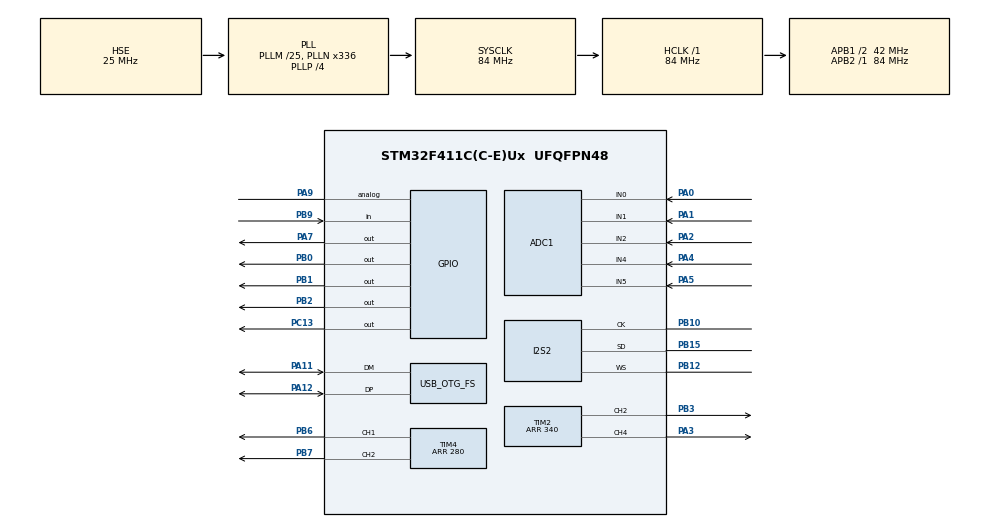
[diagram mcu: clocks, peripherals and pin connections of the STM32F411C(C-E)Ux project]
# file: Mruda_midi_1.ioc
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ADC1.Channel-0\#ChannelRegularConversion=ADC_CHANNEL_0
ADC1.Channel-1\#ChannelRegularConversion=ADC_CHANNEL_1
ADC1.Channel-2\#ChannelRegularConversion=ADC_CHANNEL_2
ADC1.Channel-3\#ChannelRegularConversion=ADC_CHANNEL_5
ADC1.ContinuousConvMode=ENABLE
ADC1.DMAContinuousRequests=ENABLE
ADC1.InjNumberOfConversion=0
ADC1.NbrOfConversion=4
ADC1.NbrOfConversionFlag=1
ADC1.Rank-0\#ChannelRegularConversion=1
ADC1.Rank-1\#ChannelRegularConversion=2
ADC1.Rank-2\#ChannelRegularConversion=3
ADC1.Rank-3\#ChannelRegularConversion=4
ADC1.SamplingTime-0\#ChannelRegularConversion=ADC_SAMPLETIME_15CYCLES
ADC1.SamplingTime-1\#ChannelRegularConversion=ADC_SAMPLETIME_15CYCLES
ADC1.SamplingTime-2\#ChannelRegularConversion=ADC_SAMPLETIME_15CYCLES
ADC1.SamplingTime-3\#ChannelRegularConversion=ADC_SAMPLETIME_15CYCLES
ADC1.master=1
Dma.ADC1.1.Direction=DMA_PERIPH_TO_MEMORY
Dma.ADC1.1.FIFOMode=DMA_FIFOMODE_DISABLE
Dma.ADC1.1.Instance=DMA2_Stream0
Dma.ADC1.1.MemDataAlignment=DMA_MDATAALIGN_HALFWORD
Dma.ADC1.1.MemInc=DMA_MINC_ENABLE
Dma.ADC1.1.Mode=DMA_CIRCULAR
Dma.ADC1.1.PeriphDataAlignment=DMA_PDATAALIGN_HALFWORD
Dma.ADC1.1.PeriphInc=DMA_PINC_DISABLE
Dma.ADC1.1.Priority=DMA_PRIORITY_LOW
Dma.Request0=SPI2_TX
Dma.Request1=ADC1
Dma.SPI2_TX.0.Direction=DMA_MEMORY_TO_PERIPH
Dma.SPI2_TX.0.FIFOMode=DMA_FIFOMODE_DISABLE
Dma.SPI2_TX.0.Instance=DMA1_Stream4
Dma.SPI2_TX.0.MemDataAlignment=DMA_MDATAALIGN_HALFWORD
Dma.SPI2_TX.0.MemInc=DMA_MINC_ENABLE
Dma.SPI2_TX.0.Mode=DMA_CIRCULAR
Dma.SPI2_TX.0.PeriphDataAlignment=DMA_PDATAALIGN_HALFWORD
Dma.SPI2_TX.0.PeriphInc=DMA_PINC_DISABLE
Dma.SPI2_TX.0.Priority=DMA_PRIORITY_VERY_HIGH
I2S2.AudioFreq=I2S_AUDIOFREQ_16K
I2S2.DataFormat=I2S_DATAFORMAT_16B
I2S2.ErrorAudioFreq=-0.03 %
I2S2.FullDuplexMode=I2S_FULLDUPLEXMODE_DISABLE
I2S2.Instance=SPI$Index
I2S2.RealAudioFreq=15.995 KHz
I2S2.Standard=I2S_STANDARD_PHILIPS
I2S2.VirtualMode=I2S_MODE_MASTER
Mcu.Family=STM32F4
Mcu.Name=STM32F411C(C-E)Ux
Mcu.Package=UFQFPN48
NVIC.DMA1_Stream4_IRQn=true\:0\:0\:false\:false\:true\:false\:true\:true
NVIC.DMA2_Stream0_IRQn=true\:0\:0\:false\:false\:true\:false\:true\:true
NVIC.OTG_FS_IRQn=true\:0\:0\:false\:false\:true\:false\:true\:true
NVIC.PriorityGroup=NVIC_PRIORITYGROUP_4
PA0-WKUP.Signal=ADCx_IN0
PA1.Signal=ADCx_IN1
PA11.Mode=Device_Only
PA11.Signal=USB_OTG_FS_DM
PA12.Mode=Device_Only
PA12.Signal=USB_OTG_FS_DP
PA2.Signal=ADCx_IN2
PA3.Signal=S_TIM2_CH4
PA4.Signal=ADCx_IN4
PA5.Signal=ADCx_IN5
PA7.Signal=GPIO_Output
PA9.Signal=GPIO_Analog
PB0.Signal=GPIO_Output
PB1.Signal=GPIO_Output
PB10.Mode=Half_Duplex_Master
PB10.Signal=I2S2_CK
PB12.Mode=Half_Duplex_Master
PB12.Signal=I2S2_WS
PB15.Mode=Half_Duplex_Master
PB15.Signal=I2S2_SD
PB2.Signal=GPIO_Output
PB3.Signal=S_TIM2_CH2
PB6.Signal=S_TIM4_CH1
PB7.Signal=S_TIM4_CH2
PB9.GPIO_PuPd=GPIO_PULLUP
PB9.Signal=GPIO_Input
PC13-ANTI_TAMP.Signal=GPIO_Output
PH0\ -\ OSC_IN.Mode=HSE-External-Oscillator
PH0\ -\ OSC_IN.Signal=RCC_OSC_IN
PH1\ -\ OSC_OUT.Mode=HSE-External-Oscillator
PH1\ -\ OSC_OUT.Signal=RCC_OSC_OUT
ProjectManager.HeapSize=0x200
ProjectManager.StackSize=0x400
ProjectManager.TargetToolchain=STM32CubeIDE
RCC.48MHZClocksFreq_Value=48000000
RCC.AHBFreq_Value=84000000
RCC.APB1CLKDivider=RCC_HCLK_DIV2
RCC.APB1Freq_Value=42000000
RCC.APB1TimFreq_Value=84000000
RCC.APB2Freq_Value=84000000
RCC.APB2TimFreq_Value=84000000
RCC.CortexFreq_Value=84000000
RCC.HCLKFreq_Value=84000000
RCC.HSE_VALUE=25000000
RCC.HSI_VALUE=16000000
RCC.LSE_VALUE=32768
RCC.PLLI2SM=20
RCC.PLLI2SN=190
RCC.PLLM=25
RCC.PLLN=336
RCC.PLLP=RCC_PLLP_DIV4
RCC.PLLQ=7
RCC.SYSCLKFreq_VALUE=84000000
RCC.SYSCLKSource=RCC_SYSCLKSOURCE_PLLCLK
RCC.VCOOutputFreq_Value=336000000
SH.ADCx_IN0.0=ADC1_IN0,IN0
SH.ADCx_IN1.0=ADC1_IN1,IN1
SH.ADCx_IN2.0=ADC1_IN2,IN2
SH.ADCx_IN4.0=ADC1_IN4,IN4
SH.ADCx_IN5.0=ADC1_IN5,IN5
SH.S_TIM2_CH2.0=TIM2_CH2,PWM Generation2 CH2
SH.S_TIM2_CH4.0=TIM2_CH4,PWM Generation4 CH4
SH.S_TIM4_CH1.0=TIM4_CH1,Output Compare1 CH1
SH.S_TIM4_CH2.0=TIM4_CH2,Output Compare2 CH2
TIM2.Channel-PWM\ Generation2\ CH2=TIM_CHANNEL_2
TIM2.Channel-PWM\ Generation4\ CH4=TIM_CHANNEL_4
TIM2.Period=340
TIM2.Pulse-PWM\ Generation4\ CH4=170
TIM3.AutoReloadPreload=TIM_AUTORELOAD_PRELOAD_ENABLE
TIM3.Prescaler=83
TIM4.AutoReloadPreload=TIM_AUTORELOAD_PRELOAD_ENABLE
TIM4.Channel-Output\ Compare1\ CH1=TIM_CHANNEL_1
TIM4.Channel-Output\ Compare2\ CH2=TIM_CHANNEL_2
TIM4.OCMode_1=TIM_OCMODE_TOGGLE
TIM4.OCMode_2=TIM_OCMODE_TOGGLE
TIM4.OCPolarity_1=TIM_OCPOLARITY_LOW
TIM4.Period=280
TIM4.Pulse-Output\ Compare2\ CH2=15
USB_DEVICE.CLASS_NAME_FS=HID
USB_DEVICE.VirtualMode=Hid
USB_DEVICE.VirtualModeFS=Hid_FS
USB_OTG_FS.VirtualMode=Device_Only
VP_TIM2_VS_ClockSourceINT.Mode=Internal
VP_TIM3_VS_ClockSourceINT.Mode=Internal
VP_USB_DEVICE_VS_USB_DEVICE_HID_FS.Mode=HID_FS
board=custom

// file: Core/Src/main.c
/* USER CODE BEGIN Header */
/* USER CODE END Header */
#include "main.h"
#include "usb_device.h"

/* USER CODE BEGIN Includes */

#include "usbd_hid.h"
#include "function/general_func.h"
#include "function/measure.h"
#include "tm1637.h"
#include "function/synth.h"
#include "function/func_sel.h"
#include "function/f_set.h"
#include "function/debugs.h"
#include "function/midi.h"
#include "function/usb.h"

uint16_t adc_dma_buffer[ADC_DMA_LEN];
float adc_val[ADC_DMA_LEN];
long main_time, main_time_COUNTER;

operation_mode mode;

/* USER CODE END Includes */

/* USER CODE BEGIN PTD */

extern USBD_HandleTypeDef hUsbDeviceFS;

/* USER CODE END PTD */

ADC_HandleTypeDef hadc1;
DMA_HandleTypeDef hdma_adc1;

I2S_HandleTypeDef hi2s2;
DMA_HandleTypeDef hdma_spi2_tx;

TIM_HandleTypeDef htim2;
TIM_HandleTypeDef htim3;
TIM_HandleTypeDef htim4;

void SystemClock_Config(void);
static void MX_GPIO_Init(void);
static void MX_DMA_Init(void);
static void MX_ADC1_Init(void);
static void MX_I2S2_Init(void);
static void MX_TIM2_Init(void);
static void MX_TIM3_Init(void);
static void MX_TIM4_Init(void);

/* USER CODE BEGIN 0 */

void HAL_ADC_ConvCpltCallback(ADC_HandleTypeDef* hadc){
	for(int i=0;i<ADC_DMA_LEN;i++){
	adc_val[i]=(float)adc_dma_buffer[i];
	}
}

void HAL_I2S_TxHalfCpltCallback(I2S_HandleTypeDef *hi2s) {
    fill_buffer(Buffer, BUFFER_SIZE / 2);  // Fill first half
}

void HAL_I2S_TxCpltCallback(I2S_HandleTypeDef *hi2s) {
    fill_buffer(Buffer + BUFFER_SIZE/2, BUFFER_SIZE / 2);  // Fill second half
}

/* USER CODE END 0 */

int main(void)
{

  /* USER CODE BEGIN 1 */
	SCB->VTOR = 0x08010000;
	__enable_irq();

  /* USER CODE END 1 */

  /* MCU Configuration--------------------------------------------------------*/

  /* Reset of all peripherals, Initializes the Flash interface and the Systick. */
  HAL_Init();

  /* USER CODE BEGIN Init */

  	set_defaults();
  	update_all_presets();
	Creat_sine_table(sine_data,0);
	Creat_sine_table(sine_data_tanpura,5);

  /* USER CODE END Init */

  /* Configure the system clock */
  SystemClock_Config();

  /* Initialize all configured peripherals */
  MX_GPIO_Init();
  MX_DMA_Init();
  MX_ADC1_Init();
  MX_I2S2_Init();
  MX_TIM2_Init();
  MX_TIM3_Init();
  MX_TIM4_Init();
  MX_USB_DEVICE_Init();
  /* USER CODE BEGIN 2 */

  //these is to set the timer to set tjhe dac and excitation signal

  HAL_TIM_PWM_Start(&htim4, TIM_CHANNEL_2);
  HAL_TIM_PWM_Start(&htim4, TIM_CHANNEL_1);
  __HAL_TIM_SET_COMPARE(&htim4, TIM_CHANNEL_1, 0);

  HAL_TIM_Base_Start(&htim3);
  HAL_TIM_PWM_Start(&htim2, TIM_CHANNEL_4);

  __HAL_TIM_SET_COMPARE(&htim4, TIM_CHANNEL_2, 15); // phase shift for reference

  TM1637_Init();
  HAL_Delay(50);
  HAL_ADC_Start_DMA(&hadc1, (uint32_t*)adc_dma_buffer, ADC_DMA_LEN);
  HAL_Delay(50);
  key_cal();

  HAL_I2S_Transmit_DMA(&hi2s2, (uint16_t*)Buffer, BUFFER_SIZE);
  DWT_Delay_Init();

  mode = Onboard;
  if (HAL_GPIO_ReadPin(GPIOB, GPIO_PIN_9) == 0) {
	  mode = Edit;
	  enter_edit_mode();
  }

  /* USER CODE END 2 */

  /* Infinite loop */
  /* USER CODE BEGIN WHILE */
  static uint32_t last_count;
  while(1)
  {
	  uint32_t now = __HAL_TIM_GET_COUNTER(&htim3);
	  if ((now - last_count) >= 250) // loop of 250ms to run continously
	  {
	        last_count = now;
	        get_touch_position();
	        pos_measure_f_cal();
	        Tanpura();
	        function_process();
	  }
    /* USER CODE END WHILE */

  }
}

void SystemClock_Config(void)
{
  RCC_OscInitTypeDef RCC_OscInitStruct = {0};
  RCC_ClkInitTypeDef RCC_ClkInitStruct = {0};

  /** Configure the main internal regulator output voltage
  */
  __HAL_RCC_PWR_CLK_ENABLE();
  __HAL_PWR_VOLTAGESCALING_CONFIG(PWR_REGULATOR_VOLTAGE_SCALE1);

  /** Initializes the RCC Oscillators according to the specified parameters
  * in the RCC_OscInitTypeDef structure.
  */
  RCC_OscInitStruct.OscillatorType = RCC_OSCILLATORTYPE_HSE;
  RCC_OscInitStruct.HSEState = RCC_HSE_ON;
  RCC_OscInitStruct.PLL.PLLState = RCC_PLL_ON;
  RCC_OscInitStruct.PLL.PLLSource = RCC_PLLSOURCE_HSE;
  RCC_OscInitStruct.PLL.PLLM = 25;
  RCC_OscInitStruct.PLL.PLLN = 336;
  RCC_OscInitStruct.PLL.PLLP = RCC_PLLP_DIV4;
  RCC_OscInitStruct.PLL.PLLQ = 7;
  if (HAL_RCC_OscConfig(&RCC_OscInitStruct) != HAL_OK)
  {
    Error_Handler();
  }

  /** Initializes the CPU, AHB and APB buses clocks
  */
  RCC_ClkInitStruct.ClockType = RCC_CLOCKTYPE_HCLK|RCC_CLOCKTYPE_SYSCLK
                              |RCC_CLOCKTYPE_PCLK1|RCC_CLOCKTYPE_PCLK2;
  RCC_ClkInitStruct.SYSCLKSource = RCC_SYSCLKSOURCE_PLLCLK;
  RCC_ClkInitStruct.AHBCLKDivider = RCC_SYSCLK_DIV1;
  RCC_ClkInitStruct.APB1CLKDivider = RCC_HCLK_DIV2;
  RCC_ClkInitStruct.APB2CLKDivider = RCC_HCLK_DIV1;

  if (HAL_RCC_ClockConfig(&RCC_ClkInitStruct, FLASH_LATENCY_2) != HAL_OK)
  {
    Error_Handler();
  }
}

static void MX_ADC1_Init(void)
{

  ADC_ChannelConfTypeDef sConfig = {0};

  /** Configure the global features of the ADC (Clock, Resolution, Data Alignment and number of conversion)
  */
  hadc1.Instance = ADC1;
  hadc1.Init.ClockPrescaler = ADC_CLOCK_SYNC_PCLK_DIV4;
  hadc1.Init.Resolution = ADC_RESOLUTION_12B;
  hadc1.Init.ScanConvMode = ENABLE;
  hadc1.Init.ContinuousConvMode = ENABLE;
  hadc1.Init.DiscontinuousConvMode = DISABLE;
  hadc1.Init.ExternalTrigConvEdge = ADC_EXTERNALTRIGCONVEDGE_NONE;
  hadc1.Init.ExternalTrigConv = ADC_SOFTWARE_START;
  hadc1.Init.DataAlign = ADC_DATAALIGN_RIGHT;
  hadc1.Init.NbrOfConversion = 4;
  hadc1.Init.DMAContinuousRequests = ENABLE;
  hadc1.Init.EOCSelection = ADC_EOC_SINGLE_CONV;
  if (HAL_ADC_Init(&hadc1) != HAL_OK)
  {
    Error_Handler();
  }

  /** Configure for the selected ADC regular channel its corresponding rank in the sequencer and its sample time.
  */
  sConfig.Channel = ADC_CHANNEL_0;
  sConfig.Rank = 1;
  sConfig.SamplingTime = ADC_SAMPLETIME_15CYCLES;
  if (HAL_ADC_ConfigChannel(&hadc1, &sConfig) != HAL_OK)
  {
    Error_Handler();
  }

  /** Configure for the selected ADC regular channel its corresponding rank in the sequencer and its sample time.
  */
  sConfig.Channel = ADC_CHANNEL_1;
  sConfig.Rank = 2;
  if (HAL_ADC_ConfigChannel(&hadc1, &sConfig) != HAL_OK)
  {
    Error_Handler();
  }

  /** Configure for the selected ADC regular channel its corresponding rank in the sequencer and its sample time.
  */
  sConfig.Channel = ADC_CHANNEL_2;
  sConfig.Rank = 3;
  if (HAL_ADC_ConfigChannel(&hadc1, &sConfig) != HAL_OK)
  {
    Error_Handler();
  }

  /** Configure for the selected ADC regular channel its corresponding rank in the sequencer and its sample time.
  */
  sConfig.Channel = ADC_CHANNEL_5;
  sConfig.Rank = 4;
  if (HAL_ADC_ConfigChannel(&hadc1, &sConfig) != HAL_OK)
  {
    Error_Handler();
  }

}

static void MX_I2S2_Init(void)
{

  hi2s2.Instance = SPI2;
  hi2s2.Init.Mode = I2S_MODE_MASTER_TX;
  hi2s2.Init.Standard = I2S_STANDARD_PHILIPS;
  hi2s2.Init.DataFormat = I2S_DATAFORMAT_16B;
  hi2s2.Init.MCLKOutput = I2S_MCLKOUTPUT_DISABLE;
  hi2s2.Init.AudioFreq = I2S_AUDIOFREQ_16K;
  hi2s2.Init.CPOL = I2S_CPOL_LOW;
  hi2s2.Init.ClockSource = I2S_CLOCK_PLL;
  hi2s2.Init.FullDuplexMode = I2S_FULLDUPLEXMODE_DISABLE;
  if (HAL_I2S_Init(&hi2s2) != HAL_OK)
  {
    Error_Handler();
  }

}

static void MX_TIM2_Init(void)
{

  TIM_ClockConfigTypeDef sClockSourceConfig = {0};
  TIM_MasterConfigTypeDef sMasterConfig = {0};
  TIM_OC_InitTypeDef sConfigOC = {0};

  htim2.Instance = TIM2;
  htim2.Init.Prescaler = 0;
  htim2.Init.CounterMode = TIM_COUNTERMODE_UP;
  htim2.Init.Period = 340;
  htim2.Init.ClockDivision = TIM_CLOCKDIVISION_DIV1;
  htim2.Init.AutoReloadPreload = TIM_AUTORELOAD_PRELOAD_DISABLE;
  if (HAL_TIM_Base_Init(&htim2) != HAL_OK)
  {
    Error_Handler();
  }
  sClockSourceConfig.ClockSource = TIM_CLOCKSOURCE_INTERNAL;
  if (HAL_TIM_ConfigClockSource(&htim2, &sClockSourceConfig) != HAL_OK)
  {
    Error_Handler();
  }
  if (HAL_TIM_PWM_Init(&htim2) != HAL_OK)
  {
    Error_Handler();
  }
  sMasterConfig.MasterOutputTrigger = TIM_TRGO_RESET;
  sMasterConfig.MasterSlaveMode = TIM_MASTERSLAVEMODE_DISABLE;
  if (HAL_TIMEx_MasterConfigSynchronization(&htim2, &sMasterConfig) != HAL_OK)
  {
    Error_Handler();
  }
  sConfigOC.OCMode = TIM_OCMODE_PWM1;
  sConfigOC.Pulse = 0;
  sConfigOC.OCPolarity = TIM_OCPOLARITY_HIGH;
  sConfigOC.OCFastMode = TIM_OCFAST_DISABLE;
  if (HAL_TIM_PWM_ConfigChannel(&htim2, &sConfigOC, TIM_CHANNEL_2) != HAL_OK)
  {
    Error_Handler();
  }
  sConfigOC.Pulse = 170;
  if (HAL_TIM_PWM_ConfigChannel(&htim2, &sConfigOC, TIM_CHANNEL_4) != HAL_OK)
  {
    Error_Handler();
  }
  HAL_TIM_MspPostInit(&htim2);

}

static void MX_TIM3_Init(void)
{

  TIM_ClockConfigTypeDef sClockSourceConfig = {0};
  TIM_MasterConfigTypeDef sMasterConfig = {0};

  htim3.Instance = TIM3;
  htim3.Init.Prescaler = 83;
  htim3.Init.CounterMode = TIM_COUNTERMODE_UP;
  htim3.Init.Period = 65535;
  htim3.Init.ClockDivision = TIM_CLOCKDIVISION_DIV1;
  htim3.Init.AutoReloadPreload = TIM_AUTORELOAD_PRELOAD_ENABLE;
  if (HAL_TIM_Base_Init(&htim3) != HAL_OK)
  {
    Error_Handler();
  }
  sClockSourceConfig.ClockSource = TIM_CLOCKSOURCE_INTERNAL;
  if (HAL_TIM_ConfigClockSource(&htim3, &sClockSourceConfig) != HAL_OK)
  {
    Error_Handler();
  }
  sMasterConfig.MasterOutputTrigger = TIM_TRGO_RESET;
  sMasterConfig.MasterSlaveMode = TIM_MASTERSLAVEMODE_DISABLE;
  if (HAL_TIMEx_MasterConfigSynchronization(&htim3, &sMasterConfig) != HAL_OK)
  {
    Error_Handler();
  }

}

static void MX_TIM4_Init(void)
{

  TIM_MasterConfigTypeDef sMasterConfig = {0};
  TIM_OC_InitTypeDef sConfigOC = {0};

  htim4.Instance = TIM4;
  htim4.Init.Prescaler = 0;
  htim4.Init.CounterMode = TIM_COUNTERMODE_UP;
  htim4.Init.Period = 280;
  htim4.Init.ClockDivision = TIM_CLOCKDIVISION_DIV1;
  htim4.Init.AutoReloadPreload = TIM_AUTORELOAD_PRELOAD_ENABLE;
  if (HAL_TIM_OC_Init(&htim4) != HAL_OK)
  {
    Error_Handler();
  }
  sMasterConfig.MasterOutputTrigger = TIM_TRGO_RESET;
  sMasterConfig.MasterSlaveMode = TIM_MASTERSLAVEMODE_DISABLE;
  if (HAL_TIMEx_MasterConfigSynchronization(&htim4, &sMasterConfig) != HAL_OK)
  {
    Error_Handler();
  }
  sConfigOC.OCMode = TIM_OCMODE_TOGGLE;
  sConfigOC.Pulse = 0;
  sConfigOC.OCPolarity = TIM_OCPOLARITY_LOW;
  sConfigOC.OCFastMode = TIM_OCFAST_DISABLE;
  if (HAL_TIM_OC_ConfigChannel(&htim4, &sConfigOC, TIM_CHANNEL_1) != HAL_OK)
  {
    Error_Handler();
  }
  sConfigOC.Pulse = 15;
  sConfigOC.OCPolarity = TIM_OCPOLARITY_HIGH;
  if (HAL_TIM_OC_ConfigChannel(&htim4, &sConfigOC, TIM_CHANNEL_2) != HAL_OK)
  {
    Error_Handler();
  }
  HAL_TIM_MspPostInit(&htim4);

}

static void MX_DMA_Init(void)
{

  /* DMA controller clock enable */
  __HAL_RCC_DMA1_CLK_ENABLE();
  __HAL_RCC_DMA2_CLK_ENABLE();

  /* DMA interrupt init */
  /* DMA1_Stream4_IRQn interrupt configuration */
  HAL_NVIC_SetPriority(DMA1_Stream4_IRQn, 0, 0);
  HAL_NVIC_EnableIRQ(DMA1_Stream4_IRQn);
  /* DMA2_Stream0_IRQn interrupt configuration */
  HAL_NVIC_SetPriority(DMA2_Stream0_IRQn, 0, 0);
  HAL_NVIC_EnableIRQ(DMA2_Stream0_IRQn);

}

static void MX_GPIO_Init(void)
{
  GPIO_InitTypeDef GPIO_InitStruct = {0};

  /* GPIO Ports Clock Enable */
  __HAL_RCC_GPIOC_CLK_ENABLE();
  __HAL_RCC_GPIOH_CLK_ENABLE();
  __HAL_RCC_GPIOA_CLK_ENABLE();
  __HAL_RCC_GPIOB_CLK_ENABLE();

  /*Configure GPIO pin Output Level */
  HAL_GPIO_WritePin(GPIOC, GPIO_PIN_13, GPIO_PIN_RESET);

  /*Configure GPIO pin Output Level */
  HAL_GPIO_WritePin(GPIOA, GPIO_PIN_7, GPIO_PIN_RESET);

  /*Configure GPIO pin Output Level */
  HAL_GPIO_WritePin(GPIOB, GPIO_PIN_0|GPIO_PIN_1|GPIO_PIN_2, GPIO_PIN_RESET);

  /*Configure GPIO pin : PC13 */
  GPIO_InitStruct.Pin = GPIO_PIN_13;
  GPIO_InitStruct.Mode = GPIO_MODE_OUTPUT_PP;
  GPIO_InitStruct.Pull = GPIO_NOPULL;
  GPIO_InitStruct.Speed = GPIO_SPEED_FREQ_LOW;
  HAL_GPIO_Init(GPIOC, &GPIO_InitStruct);

  /*Configure GPIO pin : PA7 */
  GPIO_InitStruct.Pin = GPIO_PIN_7;
  GPIO_InitStruct.Mode = GPIO_MODE_OUTPUT_PP;
  GPIO_InitStruct.Pull = GPIO_NOPULL;
  GPIO_InitStruct.Speed = GPIO_SPEED_FREQ_LOW;
  HAL_GPIO_Init(GPIOA, &GPIO_InitStruct);

  /*Configure GPIO pins : PB0 PB1 PB2 */
  GPIO_InitStruct.Pin = GPIO_PIN_0|GPIO_PIN_1|GPIO_PIN_2;
  GPIO_InitStruct.Mode = GPIO_MODE_OUTPUT_PP;
  GPIO_InitStruct.Pull = GPIO_NOPULL;
  GPIO_InitStruct.Speed = GPIO_SPEED_FREQ_LOW;
  HAL_GPIO_Init(GPIOB, &GPIO_InitStruct);

  /*Configure GPIO pin : PA9 */
  GPIO_InitStruct.Pin = GPIO_PIN_9;
  GPIO_InitStruct.Mode = GPIO_MODE_ANALOG;
  GPIO_InitStruct.Pull = GPIO_NOPULL;
  HAL_GPIO_Init(GPIOA, &GPIO_InitStruct);

  /*Configure GPIO pin : PB9 */
  GPIO_InitStruct.Pin = GPIO_PIN_9;
  GPIO_InitStruct.Mode = GPIO_MODE_INPUT;
  GPIO_InitStruct.Pull = GPIO_PULLUP;
  HAL_GPIO_Init(GPIOB, &GPIO_InitStruct);

}

void Error_Handler(void)
{
}
